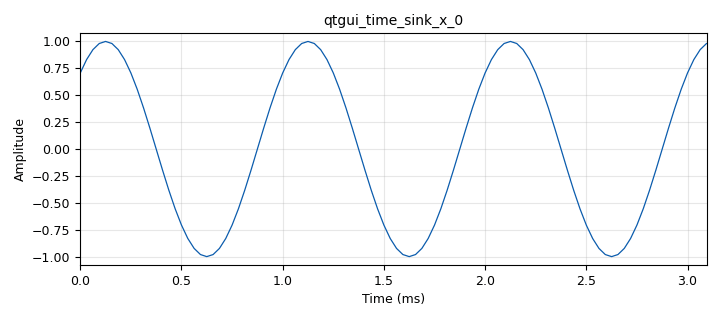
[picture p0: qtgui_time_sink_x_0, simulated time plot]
<?xml version='1.0' encoding='utf-8'?>
<?grc format='1' created='3.7.10'?>
<flow_graph>
<block>
<key>options</key>
<param><key>id</key><value>tone_generator_tx</value></param>
<param><key>generate_options</key><value>qt_gui</value></param>
<param><key>title</key><value>Tone Client</value></param>
</block>
<block>
<key>variable_qtgui_range</key>
<param><key>id</key><value>freq</value></param>
<param><key>value</key><value>1e3</value></param>
<param><key>label</key><value>Frequency</value></param>
<param><key>orient</key><value>Qt.Horizontal</value></param>
<param><key>start</key><value>0</value></param>
<param><key>step</key><value>1e3</value></param>
<param><key>stop</key><value>20e3</value></param>
</block>
<block>
<key>variable</key>
<param><key>id</key><value>samp_rate</value></param>
<param><key>value</key><value>32000</value></param>
</block>
<block>
<key>analog_sig_source_x</key>
<param><key>id</key><value>analog_sig_source_x_0</value></param>
<param><key>amp</key><value>1</value></param>
<param><key>freq</key><value>freq</value></param>
<param><key>offset</key><value>0</value></param>
<param><key>type</key><value>float</value></param>
<param><key>samp_rate</key><value>samp_rate</value></param>
<param><key>waveform</key><value>analog.GR_COS_WAVE</value></param>
</block>
<block>
<key>blocks_udp_sink</key>
<param><key>id</key><value>blocks_udp_sink_0</value></param>
<param><key>ipaddr</key><value>127.0.0.1</value></param>
<param><key>port</key><value>12345</value></param>
<param><key>type</key><value>float</value></param>
<param><key>psize</key><value>1472</value></param>
<param><key>eof</key><value>True</value></param>
<param><key>vlen</key><value>1</value></param>
</block>
<block>
<key>qtgui_time_sink_x</key>
<param><key>id</key><value>qtgui_time_sink_x_0</value></param>
<param><key>color1</key><value>"blue"</value></param>
<param><key>label1</key><value></value></param>
<param><key>size</key><value>100</value></param>
<param><key>srate</key><value>samp_rate</value></param>
<param><key>type</key><value>float</value></param>
</block>
<connection><source_block_id>analog_sig_source_x_0</source_block_id><sink_block_id>blocks_udp_sink_0</sink_block_id><source_key>0</source_key><sink_key>0</sink_key></connection>
<connection><source_block_id>analog_sig_source_x_0</source_block_id><sink_block_id>qtgui_time_sink_x_0</sink_block_id><source_key>0</source_key><sink_key>0</sink_key></connection>
</flow_graph>
